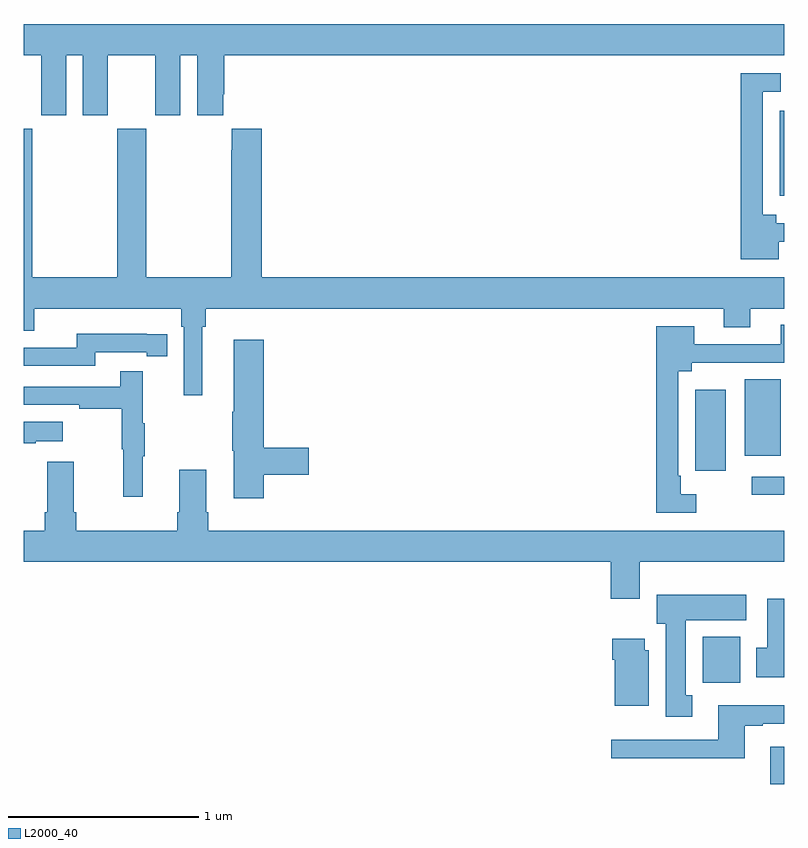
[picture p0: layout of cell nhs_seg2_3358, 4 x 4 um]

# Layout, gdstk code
import gdstk
lib = gdstk.Library(unit=1e-6, precision=1e-09)
def R(c, l, rs):  # rectangles x0, y0, x1, y1
    for r in rs: c.add(gdstk.rectangle(r[:2], r[2:], *l))
def P(c, l, *ps):  # polygons
    for p in ps: c.add(gdstk.Polygon(p, *l))
L2000_40 = (2000, 40)

nhs_seg2_3358 = lib.new_cell('nhs_seg2_3358')
R(nhs_seg2_3358, L2000_40, [(290.927,647.8,291,647.995), (290.57,648.332,290.767,648.574), (290.829,649.32,291,649.416), (290.531,649.446,290.692,649.873), (290.792,649.526,290.98,649.927), (290.975,650.892,291,651.34)])
P(nhs_seg2_3358, L2000_40, [(287.224,651.632),(287.312,651.632),(287.312,651.315),(287.443,651.315),(287.443,651.632),(287.693,651.632),(287.693,651.315),(287.824,651.315),(287.824,651.632),(287.912,651.632),(287.912,651.315),(288.049,651.315),(288.049,651.427),(288.056,651.427),(288.056,651.632),(291,651.632),(291,651.796),(287,651.796),(287,651.632),(287.093,651.632),(287.093,651.315),(287.224,651.315)],
  [(290.971,650.652),(291,650.652),(291,650.748),(290.956,650.748),(290.956,650.794),(290.886,650.794),(290.886,651.441),(290.98,651.441),(290.98,651.537),(290.77,651.537),(290.77,650.558),(290.971,650.558)],
  [(287.046,651.244),(287,651.244),(287,650.183),(287.056,650.183),(287.056,650.3),(287.828,650.3),(287.828,650.204),(287.841,650.204),(287.841,649.845),(287.938,649.845),(287.938,650.204),(287.957,650.204),(287.957,650.3),(290.681,650.3),(290.681,650.201),(290.821,650.201),(290.821,650.3),(291,650.3),(291,650.464),(288.251,650.464),(288.251,651.244),(288.095,651.244),(288.095,651.131),(288.091,651.131),(288.091,650.464),(287.646,650.464),(287.646,651.244),(287.491,651.244),(287.491,650.464),(287.046,650.464)],
  [(290.536,649.323),(290.454,649.323),(290.454,649.42),(290.442,649.42),(290.442,649.97),(290.512,649.97),(290.512,650.016),(291,650.016),(291,650.215),(290.981,650.215),(290.981,650.112),(290.527,650.112),(290.527,650.206),(290.326,650.206),(290.326,649.227),(290.536,649.227)],
  [(287.376,650.07),(287.648,650.07),(287.648,650.05),(287.756,650.05),(287.756,650.166),(287.648,650.166),(287.648,650.167),(287.28,650.167),(287.28,650.094),(287,650.094),(287,649.998),(287.376,649.998)],
  [(288.263,649.426),(288.499,649.426),(288.499,649.568),(288.263,649.568),(288.263,650.137),(288.104,650.137),(288.104,649.757),(288.097,649.757),(288.097,649.551),(288.104,649.551),(288.104,649.302),(288.263,649.302)],
  [(287.627,649.523),(287.638,649.523),(287.638,649.697),(287.627,649.697),(287.627,649.969),(287.509,649.969),(287.509,649.89),(287,649.89),(287,649.794),(287.293,649.794),(287.293,649.774),(287.517,649.774),(287.517,649.56),(287.524,649.56),(287.524,649.311),(287.627,649.311)],
  [(287.063,649.601),(287.206,649.601),(287.206,649.705),(287,649.705),(287,649.591),(287.063,649.591)],
  [(290.239,648.968),(291,648.968),(291,649.132),(287.972,649.132),(287.972,649.228),(287.959,649.228),(287.959,649.453),(287.819,649.453),(287.819,649.228),(287.807,649.228),(287.807,649.132),(287.276,649.132),(287.276,649.228),(287.263,649.228),(287.263,649.495),(287.123,649.495),(287.123,649.228),(287.111,649.228),(287.111,649.132),(287,649.132),(287,648.968),(290.087,648.968),(290.087,648.774),(290.239,648.774)],
  [(290.515,648.266),(290.482,648.266),(290.482,648.662),(290.8,648.662),(290.8,648.796),(290.33,648.796),(290.33,648.642),(290.375,648.642),(290.375,648.153),(290.515,648.153)],
  [(291,648.774),(290.909,648.774),(290.909,648.516),(290.852,648.516),(290.852,648.36),(291,648.36)],
  [(290.287,648.504),(290.266,648.504),(290.266,648.565),(290.096,648.565),(290.096,648.452),(290.108,648.452),(290.108,648.212),(290.287,648.212)],
  [(290.791,648.105),(290.887,648.105),(290.887,648.117),(291,648.117),(291,648.214),(290.651,648.214),(290.651,648.033),(290.091,648.033),(290.091,647.936),(290.791,647.936)])

lib.write_gds('nhs_seg2_3358.gds')
